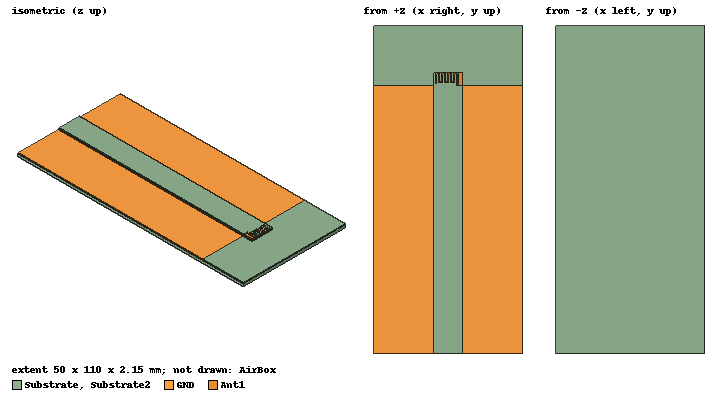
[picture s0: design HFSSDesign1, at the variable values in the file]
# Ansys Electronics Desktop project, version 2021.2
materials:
  vacuum: permittivity=1
  FR4_epoxy: permittivity=4.4 dielectric_loss_tangent=0.02
  Arlon AD260A (tm): permittivity=2.6 dielectric_loss_tangent=0.0017

design HFSSDesign1 (HFSS, DrivenTerminal, model units mm)
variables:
  d = 0.7mm
  h1 = 2.85mm
  H = 4mm
  S = 0.4mm
  W1 = 0.3mm
  W2 = 1.3mm
  W = 0.3mm
  delta = 0.2mm
  SubH2 = 0.55mm
  SubH = 1.6mm
  GndX = 50mm
  GndY = 90mm
  Lambda = 122.4mm
  Lambda_GndY = 85mm
  ModuleGndY = 10mm
  Width = 10mm
  Height = 4.4mm
  Offset = 0mm
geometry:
  GND = rectangle(corner=(-GndX/2, 0mm, 0mm), x_size=GndX, y_size=-GndY)
  Substrate [FR4_epoxy] = box(corner=(-GndX/2, -GndY, 0mm), size=(GndX, GndY+20mm, -SubH))
  FeedLine = rectangle(corner=(Offset+Width/2-0.1mm-W2-S, 0mm, SubH2), x_size=-W1, y_size=H)
  Gndstub1 = rectangle(corner=(Offset+Width/2-0.1mm, 0mm, SubH2), x_size=-W2, y_size=H)
  GndStub2 = rectangle(corner=(Offset+Width/2-0.1mm, H, SubH2), x_size=-S-W1-W2, y_size=W)
  Gnd_via = rectangle(corner=(Offset+Width/2-0.1mm, 0mm, SubH2), z_size=-SubH2, x_size=-W2)
  AirBox [vacuum] = box(corner=(-Lambda/2-GndX/2, -Lambda/2-GndY, -Lambda/2), size=(Lambda+GndX, Lambda+GndY+20mm, Lambda+SubH))
  Substrate2 [FR4_epoxy] = box(corner=(Offset-Width/2, -GndY, 0mm), size=(Width, GndY+Height, SubH2))
  Ant2 = rectangle(corner=(Offset+Width/2-0.1mm-S-W1-W2-d, H, SubH2), x_size=-W, y_size=-h1)
  Ant3 = rectangle(corner=(Offset+Width/2-0.1mm-S-W1-W2-d, H-h1, SubH2), x_size=-d-2*W, y_size=-W)
  Ant4 = rectangle(corner=(Offset+Width/2-0.1mm-S-W1-W2-2*d-W, H, SubH2), x_size=-W, y_size=-h1)
  Ant5 = rectangle(corner=(Offset+Width/2-0.1mm-S-W1-W2-2*d-W, H, SubH2), x_size=-d-2*W, y_size=W)
  Ant6 = rectangle(corner=(Offset+Width/2-0.1mm-S-W1-W2-3*d-2*W, H, SubH2), x_size=-W, y_size=-h1)
  Ant7 = rectangle(corner=(Offset+Width/2-0.1mm-S-W1-W2-3*d-2*W, H-h1, SubH2), x_size=-d-2*W, y_size=-W)
  Ant8 = rectangle(corner=(Offset+Width/2-0.1mm-S-W1-W2-4*d-3*W, H, SubH2), x_size=-W, y_size=-h1)
  Feed_Port = rectangle(corner=(Offset+Width/2-0.1mm-S-W2, 0mm, SubH2), z_size=-SubH2, x_size=-W1)
  Ant9 = rectangle(corner=(Offset+Width/2-0.1mm-S-W1-W2-4*d-3*W, H, SubH2), x_size=-d-2*W, y_size=W)
  Ant10 = rectangle(corner=(Offset+Width/2-0.1mm-S-W1-W2-5*d-4*W, H, SubH2), x_size=-W, y_size=-h1)
  Ant1 = rectangle(corner=(Offset+Width/2-0.1mm-S-W1-W2, H, SubH2), x_size=-d-W, y_size=W)
  Ant11 = rectangle(corner=(Offset+Width/2-0.1mm-S-W1-W2-5*d-4*W, H-h1, SubH2), x_size=-d-2*W, y_size=-W)
  Ant12 = rectangle(corner=(Offset+Width/2-0.1mm-S-W1-W2-6*d-5*W, H, SubH2), x_size=-W, y_size=-h1)
  Ant13 = rectangle(corner=(Offset+Width/2-0.1mm-S-W1-W2-6*d-5*W, H, SubH2), x_size=-d-2*W, y_size=W)
  Ant14 = rectangle(corner=(Offset+Width/2-0.1mm-S-W1-W2-7*d-6*W, H, SubH2), x_size=-W, y_size=-h1-W-delta)
  Ant1.unite(Ant2..Ant14, FeedLine, Gnd_via, Gndstub1, GndStub2)
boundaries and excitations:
  PerfE_GND: Perfect E Objects=GND
  Rad1: Radiation Objects=AirBox
  PerfE: Perfect E Objects=Ant1
  Ant1_T1: Terminal port=1 Edges=Ant1.edge(1 of 4) TerminalResistance=50ohm
  1: Lumped Port Faces=Feed_Port.face Impedance=50ohm
  reference conductors: GND
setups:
  Setup1: HfssDriven Frequency=2.4425GHz MaxDeltaS=0.02 MaximumPasses=20 MinimumPasses=1 MinimumConvergedPasses=1 PercentRefinement=30 BasisOrder=1 PortAccuracy=2
    sweep Sweep: 2GHz to 3GHz step 0.001GHz; Type=Interpolating InterpTolerance=0.5 InterpMaxSolns=250 PassivityErrorTolerance=0.0001
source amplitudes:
  1:1: 1 0deg
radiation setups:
  Infinite Sphere1: Infinite Sphere Theta=0deg..180deg step 2deg Phi=-180deg..180deg step 2deg
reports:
  Terminal S Parameter Plot 1: dB(St(Ant1_T1,Ant1_T1)) vs Freq on Setup1 : Sweep
  Terminal S Parameter Plot 2: dB(St(Ant1_T1,Ant1_T1)) vs Freq on Setup1 : Sweep
